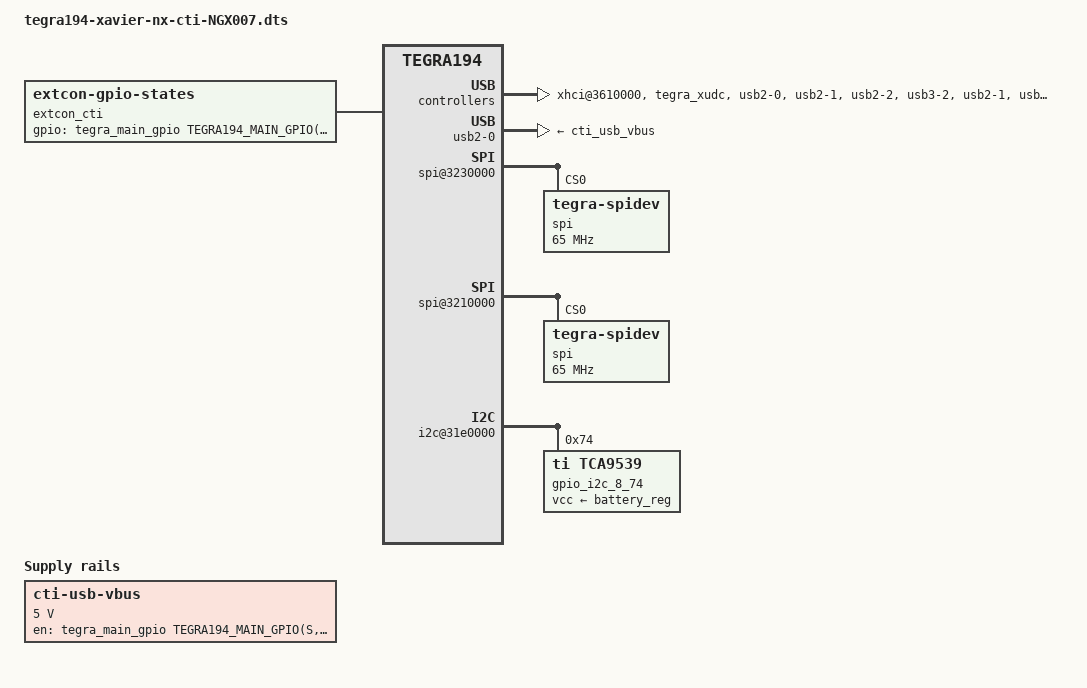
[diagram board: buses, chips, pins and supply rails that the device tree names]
#include "tegra194-xavier-nx-cti-base.dtsi"

/{

	nvidia,dtsfilename = "tegra194-xavier-nx-cti-NGX007.dts";

	clocks-init {
		compatible = "nvidia,clocks-config";
		status = "okay";
		disable {
			clocks = <&aon_clks TEGRA194_CLK_PLLAON>,
				<&bpmp_clks TEGRA194_CLK_CAN1>,
				<&bpmp_clks TEGRA194_CLK_CAN2>;
		};
	};
	
	mttcan@c310000 {
		status = "okay";
	};

			
	sdhci@3440000 {
        cd-gpios = <&tegra_aon_gpio TEGRA194_AON_GPIO(CC, 4) 0>;

    };
	
	external-connection {
		//remove the default extcon conenctions
		/delete-node/ extcon@1;
	};

	extcon_cti: extcon_cti {
		#extcon-cells = <1>;
		compatible = "extcon-gpio-states";
		extcon-gpio,name = "VBUS_ID";
	   
		//VBusDetect and OTG ID
		gpios = <&tegra_main_gpio TEGRA194_MAIN_GPIO(Z, 1) 0  
				 &tegra_main_gpio TEGRA194_MAIN_GPIO(Q, 1) 0>;

		extcon-gpio,cable-states = <0x0 EXTCON_USB_HOST
									0x1 EXTCON_USB_HOST
									0x2 EXTCON_NONE
									0x3 EXTCON_USB>;
		extcon-gpio,wait-for-gpio-scan = <0>;
		extcon-gpio,out-cable-names = <EXTCON_USB EXTCON_USB_HOST EXTCON_NONE>;
		status = "okay";
	};

   pwm_fan_shared_data: pfsd
   {
        tach_gpio = <&tegra_main_gpio TEGRA194_MAIN_GPIO(Q, 2) GPIO_ACTIVE_LOW>;
        pwm_gpio = <&tegra_main_gpio TEGRA194_MAIN_GPIO(H, 1) GPIO_ACTIVE_LOW>;
   };


    xhci@3610000{
        extcon-cable-names = "id";
        extcon-cables = <&extcon_cti 1>;
        status = "okay";
		phys = <&{/xusb_padctl@3520000/pads/usb2/lanes/usb2-0}>,
			<&{/xusb_padctl@3520000/pads/usb2/lanes/usb2-1}>,
			<&{/xusb_padctl@3520000/pads/usb2/lanes/usb2-2}>,
			<&{/xusb_padctl@3520000/pads/usb3/lanes/usb3-2}>;
		phy-names = "usb2-0", "usb2-1", "usb2-2", "usb3-2";
    };

    tegra_xudc: xudc@3550000{
        extcon-cables = <&extcon_cti 0>;
        status = "okay";
        phys =  <&{/xusb_padctl@3520000/pads/usb2/lanes/usb2-0}>, 
                <&{/xusb_padctl@3520000/pads/usb3/lanes/usb3-2}>;
        phy-names = "usb2", "usb3";  

    };

    fixed-regulators{
        regulator@200 {
            compatible = "regulator-fixed";
            regulator-name = "cti-usb-vbus";
            regulator-min-microvolt = <5000000>;
            regulator-max-microvolt = <5000000>;
            gpio = <&tegra_main_gpio TEGRA194_MAIN_GPIO(S, 4) 0>; //GPIO09
            enable-active-high;
            regulator-boot-on;
			regulator-always-on;
        };

    };
	
	xusb_padctl@3520000 {
		pads {
			usb2 {
				lanes {
					usb2-0 {
						nvidia,function = "xusb";
						status = "okay";
					};
					usb2-1 {
						nvidia,function = "xusb";
						status = "okay";
					};
					usb2-2 {
						nvidia,function = "xusb";
						status = "okay";
					};
				};
			};
			usb3 {
				lanes {
					usb3-2 {
						nvidia,function = "xusb";
						status = "okay";
					};
				};
			};
		};
        ports {
            usb2-0 {
                status = "okay";
                vbus-supply = <&cti_usb_vbus>;
                mode = "otg";
            };
            usb2-1 {
                status = "okay";
                mode = "host";
            };
            usb2-2 {
                status = "okay";
                mode = "host";
            };
            usb3-2 {
                status = "okay";
                nvidia,usb2-companion = <0>;
				//vbus-supply = <&cti_usb_vbus>;
            };
        };
	};
	
	spi@3230000{/*SPI3*/
		status = "okay";
		compatible = "nvidia,tegra186-spi";
		spi@0{
			compatible = "tegra-spidev";
			reg=<0>;
			spi-max-frequency = <65000000>;
				controller-data{
				nvidia,enable-hw-based-cs;
			};
		};

	};

	spi@3210000{/*SPI1*/
		status = "okay";
		compatible = "nvidia,tegra186-spi";
		spi@0 {
			compatible = "tegra-spidev";
			reg = <0x0>;
			spi-max-frequency = <65000000>;
				controller-data{
				nvidia,enable-hw-based-cs;
			};
		};
	};
	
	i2c@31e0000 {
		gpio_i2c_8_74: gpio@74 {
					status = "okay";
					compatible = "ti,tca9539";
					reg = <0x74>;
					gpio-controller;
					#gpio-cells = <2>;
					#address-cells = <1>;
					#size-cells = <0>;
					vcc-supply = <&battery_reg>;
		};
	};


};
